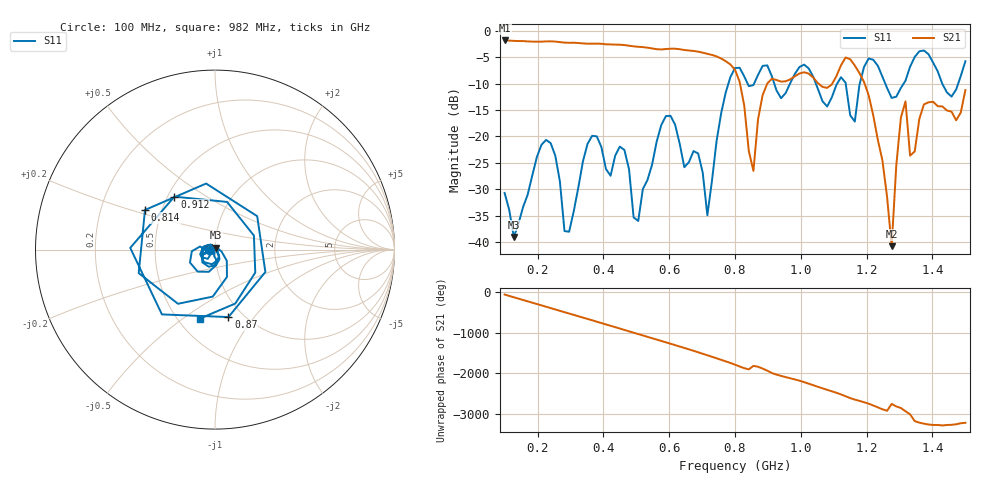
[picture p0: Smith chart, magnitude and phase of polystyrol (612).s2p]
! NanoVNA-App
! Date: 2025-09-25 15:34:39
! Start: 100MHz Stop: 1,5GHz Points: 101
! S-Parameter data: F S11 S21 S12 S22
# Hz S RI R 50
!  Frequency  S11_Real  S11_Imag  S21_Real  S21_Imag  S12_Real  S12_Imag  S22_Real  S22_Imag
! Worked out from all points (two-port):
!   101 points, 100 MHz to 1.5 GHz, reference 50 ohm
!   highest |S21| = -1.80 dB at 100 MHz (marker M1); lowest = -40.8 dB at 1.276 GHz (marker M2)
!   |S21| within 3 dB of the highest: start of sweep to 743.1 MHz
!   lowest |S11| = -39.1 dB at 128 MHz (marker M3), VSWR 1.02, Z = 50.3 + j1.06 ohm
!   |S11| at or under -10 dB: start of sweep to 779.9 MHz; 1.046 GHz to 1.11 GHz (64.42 MHz wide, 5.98 % of centre); 1.257 GHz to 1.312 GHz (55.41 MHz wide, 4.31 % of centre)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
!   S12 and S22 are empty: the file has one direction only
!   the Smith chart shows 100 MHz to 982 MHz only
!   S11 on the Smith chart (normalised r, x): 100 MHz: 0.94, -0.01; 814 MHz: 0.40, +0.22; 870 MHz: 0.86, -0.75; 912 MHz: 0.54, +0.37; 982 MHz: 0.64, -0.58
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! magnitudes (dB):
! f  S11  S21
! 100 MHz  -30.7  -1.8
! 128 MHz  -39.1  -1.9
! 212 MHz  -21.6  -2.0
! 282 MHz  -37.9  -2.2
! 338 MHz  -24.7  -2.4
! 464 MHz  -22.6  -2.7
! 506 MHz  -36.0  -3.0
! 576 MHz  -17.8  -3.5
! 716 MHz  -34.9  -4.3
! 800 MHz  -7.0  -7.3
! 814 MHz  -7.0  -9.6
! 856 MHz  -10.3  -26.5
! 870 MHz  -8.3  -16.7
! 912 MHz  -8.6  -9.1
! 982 MHz  -8.1  -8.6
! 1.038 GHz  -8.7  -8.9
! 1.164 GHz  -17.2  -6.6
! 1.192 GHz  -6.8  -9.7
! 1.276 GHz  -12.7  -40.8
! 1.318 GHz  -9.4  -13.3
! 1.332 GHz  -6.8  -23.6
! 1.5 GHz  -5.7  -11.2
